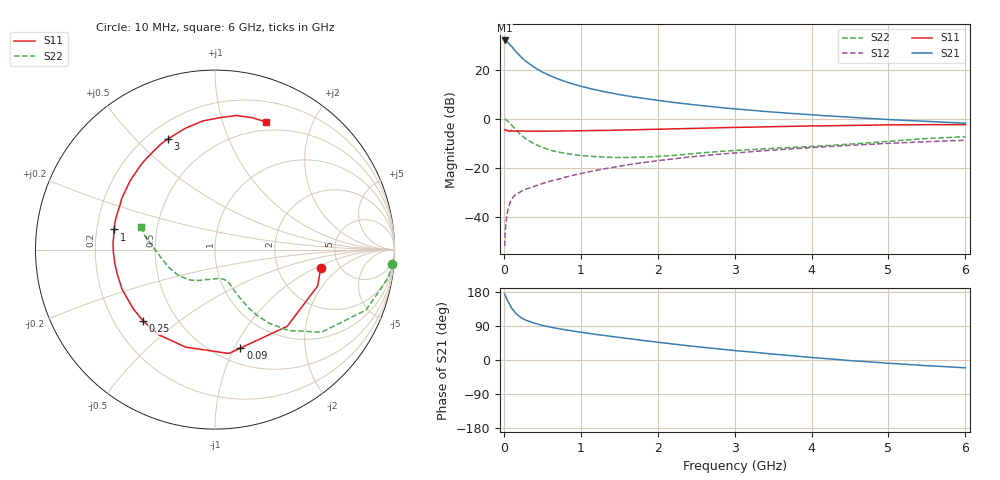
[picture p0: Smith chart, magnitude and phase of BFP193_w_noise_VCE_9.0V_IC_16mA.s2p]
! Infineon Technologies  Discrete & RF Semiconductors
! BFP193
! VCE =  9.0 V,  IC =  16 mA
! Common Emitter S-Parameters:  Jan 2017
# GHz  S  MA  R  50
!  f  S11  S21  S12  S22
! GHz  MAG  ANG  MAG  ANG  MAG  ANG  MAG  ANG
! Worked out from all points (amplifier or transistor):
!   77 points, 10 MHz to 6 GHz, reference 50 ohm
!   highest |S21| = 32.1 dB at 10 MHz (marker M1)
!   |S21| within 3 dB of that: start of sweep to 115.8 MHz
!   unconditionally stable (mu >= 1): 971 MHz to 2.518 GHz
!   at 130 MHz: K = 0.32, MSG = 30.1 dB, |S12| = -31.7 dB
!   at 2.2 GHz: K = 1.02, MAG = 10.7 dB, |S12| = -16.4 dB
!   at 6 GHz: K = 0.88, MSG = 3.5 dB, |S12| = -8.7 dB
!   lowest NFmin = 0.97 dB at 450 MHz
!   S11 on the Smith chart (normalised r, x): 10 MHz: 3.59, -1.13; 90 MHz: 0.65, -1.06; 250 MHz: 0.32, -0.37; 1 GHz: 0.27, +0.09; 3 GHz: 0.28, +0.62; 6 GHz: 0.41, +1.40
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0.01  0.5977 -9.8  40.23 174.5  0.0025 91.6  0.9906 -4.5
0.02  0.6068 -19.5  40.13 169.6  0.0054 81.4  0.9776 -9.3
0.05  0.5869 -46.7  36.96 155.4  0.0133 71.1  0.9064 -21.8
0.09  0.5665 -75.5  31.51 141.2  0.021 62.1  0.7775 -34.0
0.1  0.5838 -82.4  30.51 136.9  0.023 60.8  0.7519 -37.7
0.15  0.5675 -106.7  24.52 124.1  0.0283 52.4  0.6112 -47.6
0.2  0.5686 -123.4  20.13 115.4  0.0312 50.2  0.5092 -53.7
0.25  0.5643 -135.4  16.89 108.6  0.0347 48.8  0.4344 -57.4
0.3  0.5623 -144.2  14.45 104.0  0.0372 48.2  0.3785 -59.9
0.4  0.5629 -156.7  11.22 96.7  0.042 50.1  0.3061 -62.6
0.5  0.5615 -165.6  9.093 91.3  0.0477 51.6  0.2616 -64.3
0.6  0.5637 -172.5  7.666 86.9  0.0533 53.4  0.2314 -65.5
0.7  0.5658 -178.0  6.598 83.2  0.058 55.1  0.2108 -66.5
1  0.5737 168.7  4.676 73.4  0.0762 57.7  0.1781 -71.5
1.1  0.5773 164.8  4.263 70.5  0.0827 57.6  0.1731 -73.4
1.5  0.5919 151.5  3.157 59.6  0.1077 56.9  0.1622 -85.0
2.1  0.6202 133.9  2.287 44.6  0.1461 52.9  0.1744 -106.4
3  0.6704 113.1  1.605 24.9  0.2011 44.6  0.2263 -133.6
3.1  0.674 111.2  1.557 23.2  0.2069 43.6  0.2303 -136.2
4.1  0.7217 94.0  1.187 5.1  0.2653 33.4  0.2794 -161.3
5.1  0.7573 79.6  0.954 -9.8  0.3214 22.4  0.3573 175.3
6  0.7664 68.2  0.817 -20.7  0.367 12.4  0.4325 162.9
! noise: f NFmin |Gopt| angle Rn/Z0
0.45  0.97  0.24  173  0.07
0.9  1.06  0.36  179  0.07
1.9  1.74  0.56  -142  0.14
2.4  2.05  0.62  -125  0.33
